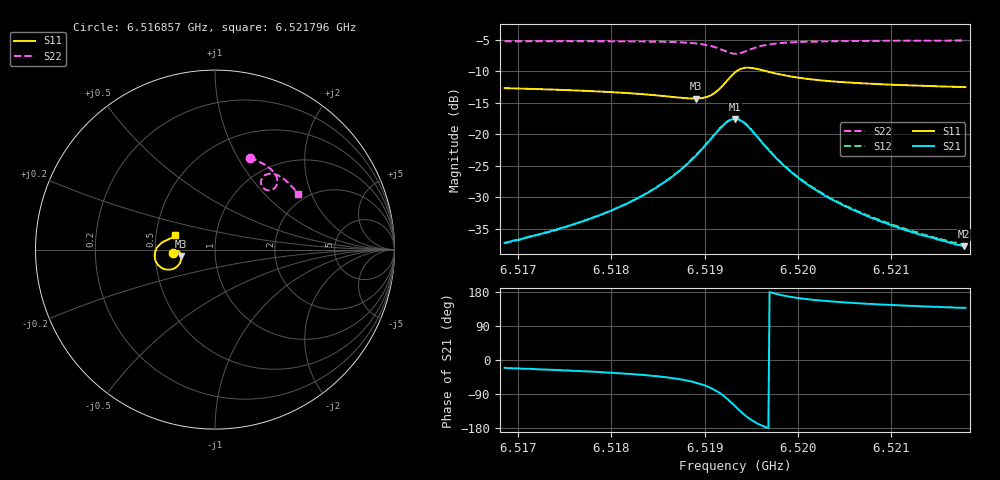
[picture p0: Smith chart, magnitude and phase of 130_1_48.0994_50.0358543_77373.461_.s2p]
#  HZ  S  RI  R  50.00
! Rohde & Schwarz Vector Network Analyzer
! Rohde-Schwarz,ZNB20-2Port,1311601062101988,3.16
! Created: UTC 12/23/2023, 3:47:39 AM
! freq[Hz]  re:S11  im:S11  re:S21  im:S21  re:S12  im:S12  re:S22  im:S22
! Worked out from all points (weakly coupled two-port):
!   401 points, 6.516857 GHz to 6.521796 GHz, reference 50 ohm
!   highest |S21| = -17.57 dB at 6.519326 GHz (marker M1); lowest = -37.8 dB at 6.521784 GHz (marker M2)
!   lowest |S11| = -14.3 dB at 6.518907 GHz (marker M3), VSWR 1.48, Z = 34.1 - j2.56 ohm
!   |S11| at or under -10 dB: start of sweep to 6.519342 GHz; 6.519666 GHz to end of sweep
!   |S22| runs from -7.2 to -5.1 dB; largest |S21 - S12| = 0.0041
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6.5168571e9  -0.2314 -0.0197  0.0128 -0.00478  0.0129 -0.00442  0.1932 0.5128
6.5173509e9  -0.2261 -0.0122  0.0152 -0.00744  0.0154 -0.00676  0.2297 0.4981
6.5176843e9  -0.2216 -0.00837  0.0176 -0.0099  0.0179 -0.00932  0.2544 0.486
6.5181535e9  -0.2126 -0.00577  0.0225 -0.0163  0.023 -0.0156  0.2895 0.4645
6.5185116e9  -0.2026 -0.00963  0.0282 -0.0268  0.0292 -0.0258  0.3171 0.4421
6.5187338e9  -0.1943 -0.0192  0.0325 -0.0396  0.0338 -0.0388  0.3343 0.4216
6.5189067e9  -0.1885 -0.0361  0.034 -0.0582  0.0361 -0.0575  0.3451 0.3979
6.5190178e9  -0.189 -0.0557  0.0303 -0.0772  0.0328 -0.0768  0.3474 0.3766
6.5191042e9  -0.197 -0.0772  0.0197 -0.0966  0.0228 -0.0965  0.3419 0.3565
6.5192277e9  -0.2361 -0.1085  -0.02 -0.1211  -0.0164 -0.1226  0.3124 0.3315
6.5193265e9  -0.2916 -0.1051  -0.0696 -0.1126  -0.0667 -0.1154  0.2745 0.3381
6.5193758e9  -0.3156 -0.0872  -0.089 -0.0946  -0.087 -0.0977  0.2613 0.3534
6.5194376e9  -0.3326 -0.057  -0.1009 -0.0663  -0.0996 -0.0697  0.2561 0.3765
6.5195487e9  -0.3321 -0.0086  -0.0951 -0.0251  -0.0952 -0.028  0.2702 0.4078
6.5196475e9  -0.3182 0.0177  -0.0805 -0.0051  -0.081 -0.0075  0.2902 0.4201
6.5198944e9  -0.2868 0.0442  -0.0514 0.0111  -0.0522 0.00969  0.3312 0.4208
6.5201537e9  -0.267 0.0538  -0.035 0.0134  -0.0358 0.0126  0.36 0.4089
6.5205118e9  -0.2511 0.0606  -0.0234 0.0125  -0.0242 0.012  0.389 0.389
6.520981e9  -0.2383 0.0677  -0.0158 0.0109  -0.0164 0.0105  0.4189 0.3614
6.5212896e9  -0.2321 0.0721  -0.0127 0.00992  -0.0134 0.00968  0.436 0.3428
6.5217835e9  -0.2236 0.0789  -0.00948 0.0087  -0.00987 0.00863  0.4603 0.3124
6.5217959e9  -0.2234 0.079  -0.00952 0.0087  -0.00984 0.0086  0.4607 0.3115
